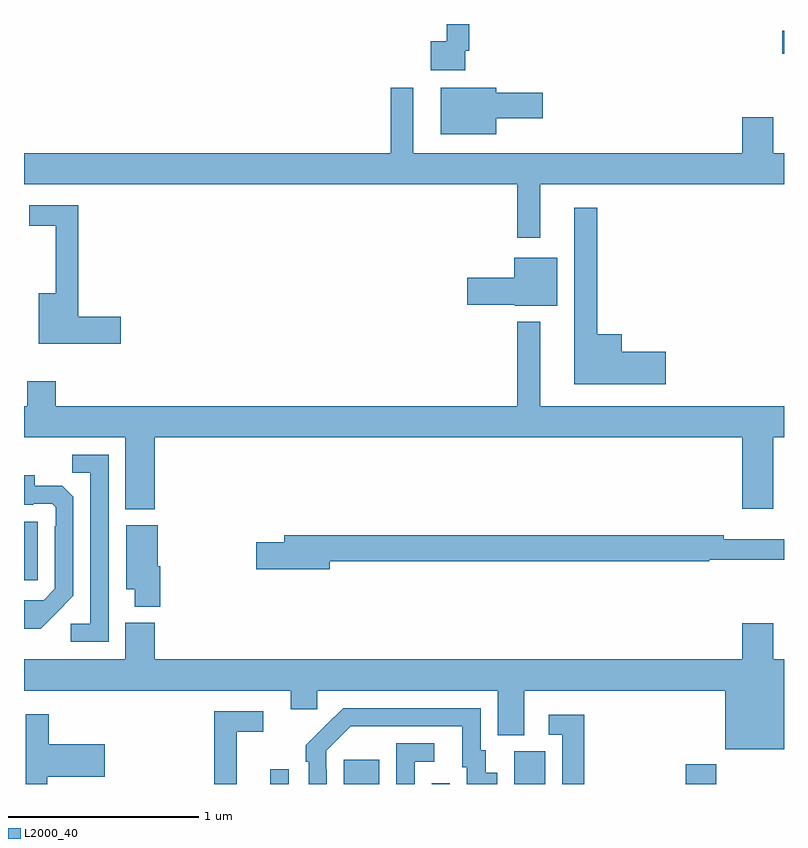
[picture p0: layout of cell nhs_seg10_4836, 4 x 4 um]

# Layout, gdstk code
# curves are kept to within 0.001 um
import gdstk
lib = gdstk.Library(unit=1e-6, precision=1e-09)
def R(c, l, rs):  # rectangles x0, y0, x1, y1
    for r in rs: c.add(gdstk.rectangle(r[:2], r[2:], *l))
def P(c, l, *ps):  # polygons
    for p in ps: c.add(gdstk.Polygon(p, *l))
L2000_40 = (2000, 40)

nhs_seg10_4836 = lib.new_cell('nhs_seg10_4836')
R(nhs_seg10_4836, L2000_40, [(390.297,1290.5,390.393,1290.577), (390.683,1290.5,390.871,1290.628), (391.146,1290.5,391.242,1290.505), (391.58,1290.5,391.744,1290.672), (392.483,1290.5,392.643,1290.604), (389,1291.572,389.073,1291.881), (392.991,1294.343,393,1294.465)])
P(nhs_seg10_4836, L2000_40, [(391.323,1294.36),(391.343,1294.36),(391.343,1294.5),(391.226,1294.5),(391.226,1294.409),(391.14,1294.409),(391.14,1294.256),(391.323,1294.256)],
  [(391.717,1293.656),(393,1293.656),(393,1293.82),(392.944,1293.82),(392.944,1294.009),(392.78,1294.009),(392.78,1293.82),(391.048,1293.82),(391.048,1294.165),(390.931,1294.165),(390.931,1293.82),(389,1293.82),(389,1293.656),(391.596,1293.656),(391.596,1293.375),(391.717,1293.375)],
  [(391.486,1294.004),(391.729,1294.004),(391.729,1294.139),(391.486,1294.139),(391.486,1294.165),(391.193,1294.165),(391.193,1293.92),(391.486,1293.92)],
  [(389.509,1292.96),(389.285,1292.96),(389.285,1293.546),(389.028,1293.546),(389.028,1293.438),(389.168,1293.438),(389.168,1293.082),(389.078,1293.082),(389.078,1292.818),(389.509,1292.818)],
  [(392.377,1292.774),(392.146,1292.774),(392.146,1292.866),(392.017,1292.866),(392.017,1293.532),(391.895,1293.532),(391.895,1292.603),(392.377,1292.603)],
  [(391.807,1293.271),(391.58,1293.271),(391.58,1293.165),(391.332,1293.165),(391.332,1293.023),(391.584,1293.023),(391.584,1293.017),(391.807,1293.017)],
  [(389.687,1292.324),(392.78,1292.324),(392.78,1291.95),(392.944,1291.95),(392.944,1292.324),(393,1292.324),(393,1292.488),(391.717,1292.488),(391.717,1292.932),(391.596,1292.932),(391.596,1292.488),(389.168,1292.488),(389.168,1292.62),(389.016,1292.62),(389.016,1292.488),(389,1292.488),(389,1292.324),(389.534,1292.324),(389.534,1291.946),(389.687,1291.946)],
  [(389.445,1292.232),(389.254,1292.232),(389.254,1292.137),(389.349,1292.137),(389.349,1291.344),(389.247,1291.344),(389.247,1291.248),(389.445,1291.248)],
  [(389.167,1291.397),(389.259,1291.49),(389.259,1292.012),(389.2,1292.071),(389.056,1292.071),(389.056,1292.125),(389,1292.125),(389,1291.97),(389.048,1291.97),(389.048,1291.974),(389.148,1291.974),(389.166,1291.956),(389.166,1291.856),(389.163,1291.856),(389.163,1291.527),(389.103,1291.467),(389,1291.467),(389,1291.316),(389.087,1291.316)],
  [(389.717,1291.647),(389.704,1291.647),(389.704,1291.861),(389.537,1291.861),(389.537,1291.526),(389.582,1291.526),(389.582,1291.433),(389.717,1291.433)],
  [(390.61,1291.672),(392.606,1291.672),(392.606,1291.68),(393,1291.68),(393,1291.789),(392.684,1291.789),(392.684,1291.808),(390.371,1291.808),(390.371,1291.772),(390.222,1291.772),(390.222,1291.63),(390.61,1291.63)],
  [(393,1291.156),(392.944,1291.156),(392.944,1291.345),(392.78,1291.345),(392.78,1291.156),(389.687,1291.156),(389.687,1291.348),(389.534,1291.348),(389.534,1291.156),(389,1291.156),(389,1290.992),(390.404,1290.992),(390.404,1290.894),(390.543,1290.894),(390.543,1290.992),(391.493,1290.992),(391.493,1290.757),(391.633,1290.757),(391.633,1290.992),(392.69,1290.992),(392.69,1290.683),(393,1290.683)],
  [(390.594,1290.575),(390.591,1290.575),(390.591,1290.675),(390.72,1290.804),(391.307,1290.804),(391.307,1290.588),(391.331,1290.588),(391.331,1290.5),(391.492,1290.5),(391.492,1290.559),(391.429,1290.559),(391.429,1290.678),(391.404,1290.678),(391.404,1290.9),(390.68,1290.9),(390.483,1290.705),(390.483,1290.617),(390.498,1290.617),(390.498,1290.5),(390.594,1290.5)],
  [(390.119,1290.774),(390.259,1290.774),(390.259,1290.882),(390.001,1290.882),(390.001,1290.5),(390.119,1290.5)],
  [(389.123,1290.539),(389.425,1290.539),(389.425,1290.709),(389.131,1290.709),(389.131,1290.868),(389.009,1290.868),(389.009,1290.5),(389.123,1290.5)],
  [(391.949,1290.865),(391.761,1290.865),(391.761,1290.759),(391.833,1290.759),(391.833,1290.5),(391.949,1290.5)],
  [(391.056,1290.618),(391.159,1290.618),(391.159,1290.714),(390.96,1290.714),(390.96,1290.5),(391.056,1290.5)])

lib.write_gds('nhs_seg10_4836.gds')
